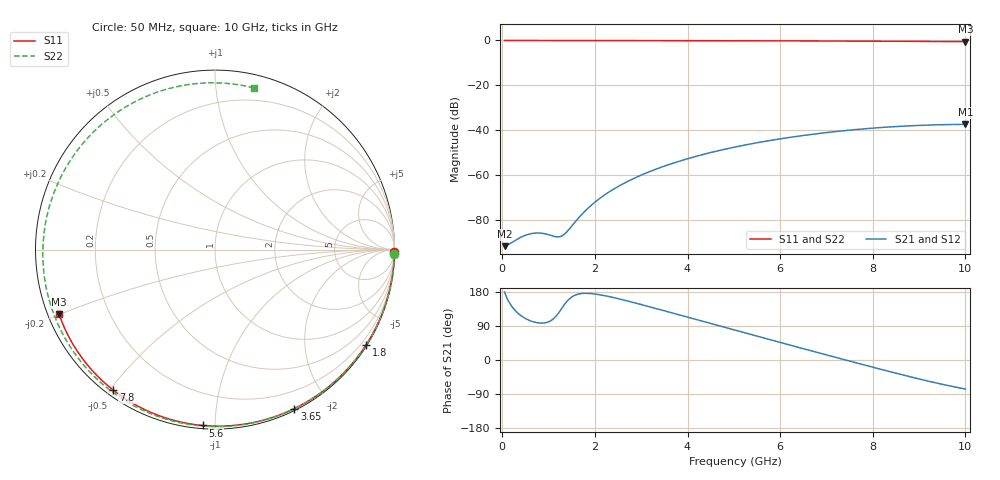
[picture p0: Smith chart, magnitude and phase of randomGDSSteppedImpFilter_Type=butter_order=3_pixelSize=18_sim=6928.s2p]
! freq	dB(S11)	phase(S11)	dB(S12)	phase(S12)
!  dB(S21)	phase(S21)	dB(S22)	phase(S22)
!S-par simulation data
#  GHz  S  DB  R 50
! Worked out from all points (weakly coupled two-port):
!   200 points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, 50 MHz to 10 GHz, reference 50 ohm
!   highest |S21| = -37.28 dB at 10 GHz (marker M1); lowest = -91.4 dB at 50 MHz (marker M2)
!   lowest |S11| = -0.5 dB at 10 GHz (marker M3), VSWR 32.56, Z = 1.6 - j9.95 ohm
!   |S11| at or under -10 dB: nowhere
!   |S22| runs from -0.7 to 0.0 dB; largest |S21 - S12| = 0
!   S11 on the Smith chart (normalised r, x): 50 MHz: open; 1.8 GHz: 0.03, -3.47; 3.65 GHz: 0.02, -1.62; 5.6 GHz: 0.02, -0.93; 7.8 GHz: 0.02, -0.51; 10 GHz: 0.03, -0.20
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0.05  -0.00 -0.9  -91.43 179.2  -91.43 179.2  -0.00 -1.4
0.8  -0.02 -14.5  -85.59 97.7  -85.59 97.7  -0.02 -21.8
1.6  -0.04 -28.7  -80.01 172.4  -80.01 172.4  -0.05 -43.2
1.75  -0.04 -31.3  -76.59 175.8  -76.59 175.8  -0.06 -47.1
1.8  -0.04 -32.2  -75.55 176.0  -75.55 176.0  -0.06 -48.4
2.1  -0.05 -37.4  -70.27 172.3  -70.27 172.3  -0.07 -56.3
2.45  -0.06 -43.4  -65.52 163.4  -65.52 163.4  -0.09 -65.3
2.9  -0.07 -51.0  -60.76 149.5  -60.76 149.5  -0.10 -76.8
3.4  -0.08 -59.4  -56.58 133.2  -56.58 133.2  -0.12 -89.3
3.65  -0.09 -63.5  -54.80 124.8  -54.80 124.8  -0.13 -95.5
4.35  -0.11 -74.7  -50.59 101.3  -50.59 101.3  -0.16 -112.8
5.05  -0.13 -85.6  -47.26 77.8  -47.26 77.8  -0.20 -130.1
5.6  -0.16 -94.0  -45.09 59.5  -45.09 59.5  -0.24 -143.9
6.15  -0.18 -102.2  -43.25 41.3  -43.25 41.3  -0.29 -158.0
6.7  -0.22 -110.2  -41.69 23.3  -41.69 23.3  -0.34 -172.7
7.25  -0.25 -118.1  -40.37 5.3  -40.37 5.3  -0.39 171.8
7.8  -0.30 -126.0  -39.29 -12.6  -39.29 -12.6  -0.45 155.3
8.35  -0.34 -133.8  -38.45 -30.2  -38.45 -30.2  -0.51 137.5
8.85  -0.39 -140.9  -37.89 -45.6  -37.89 -45.6  -0.56 120.2
9.25  -0.44 -146.6  -37.58 -57.3  -37.58 -57.3  -0.60 105.5
9.65  -0.49 -152.4  -37.37 -68.1  -37.37 -68.1  -0.64 90.1
10  -0.53 -157.5  -37.28 -76.6  -37.28 -76.6  -0.66 76.3
